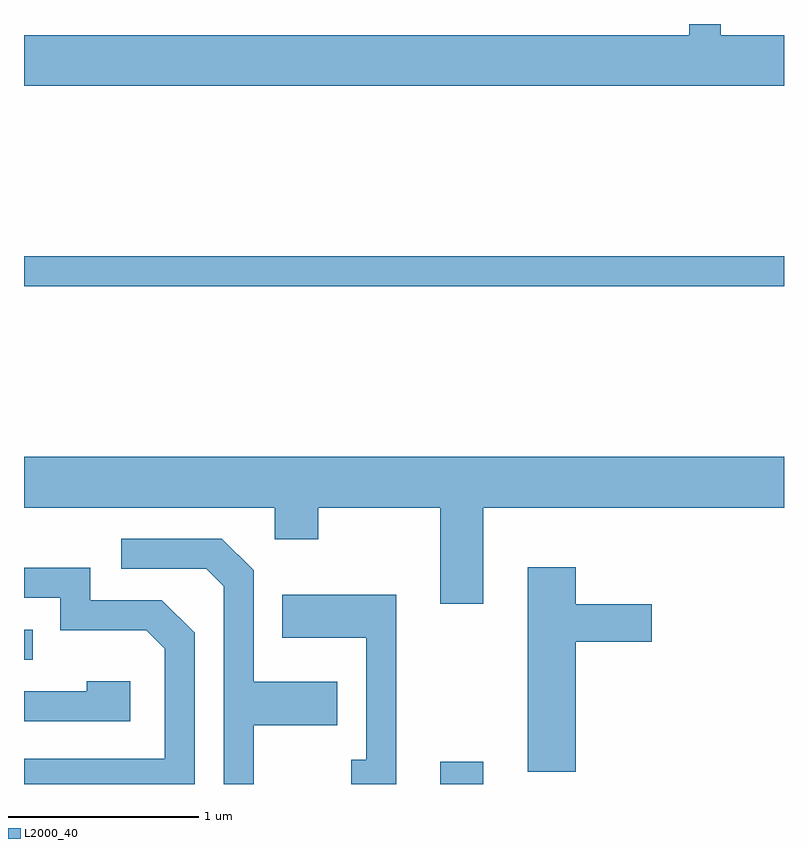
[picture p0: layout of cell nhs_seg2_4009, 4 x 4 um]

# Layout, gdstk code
import gdstk
lib = gdstk.Library(unit=1e-6, precision=1e-09)
def R(c, l, rs):  # rectangles x0, y0, x1, y1
    for r in rs: c.add(gdstk.rectangle(r[:2], r[2:], *l))
def P(c, l, *ps):  # polygons
    for p in ps: c.add(gdstk.Polygon(p, *l))
L2000_40 = (2000, 40)

nhs_seg2_4009 = lib.new_cell('nhs_seg2_4009')
R(nhs_seg2_4009, L2000_40, [(305.801,995.802,306.029,995.919), (303.611,996.456,303.658,996.614), (303.611,998.421,307.611,998.579)])
P(nhs_seg2_4009, L2000_40, [(307.611,999.744),(307.279,999.744),(307.279,999.802),(307.111,999.802),(307.111,999.744),(303.611,999.744),(303.611,999.476),(307.611,999.476)],
  [(306.029,997.256),(307.611,997.256),(307.611,997.524),(303.611,997.524),(303.611,997.256),(304.931,997.256),(304.931,997.091),(305.159,997.091),(305.159,997.256),(305.801,997.256),(305.801,996.751),(306.029,996.751)],
  [(304.819,996.111),(305.259,996.111),(305.259,996.339),(304.819,996.339),(304.819,996.927),(304.652,997.094),(304.123,997.094),(304.123,996.936),(304.569,996.936),(304.661,996.844),(304.661,995.802),(304.819,995.802)],
  [(306.514,996.551),(306.914,996.551),(306.914,996.749),(306.514,996.749),(306.514,996.944),(306.261,996.944),(306.261,995.866),(306.514,995.866)],
  [(304.509,996.597),(304.337,996.769),(303.959,996.769),(303.959,996.939),(303.611,996.939),(303.611,996.781),(303.801,996.781),(303.801,996.611),(304.254,996.611),(304.351,996.514),(304.351,995.934),(303.611,995.934),(303.611,995.802),(304.509,995.802)],
  [(305.569,996.799),(304.971,996.799),(304.971,996.571),(305.411,996.571),(305.411,995.929),(305.333,995.929),(305.333,995.802),(305.569,995.802)],
  [(304.169,996.344),(303.941,996.344),(303.941,996.289),(303.611,996.289),(303.611,996.131),(304.169,996.131)])

lib.write_gds('nhs_seg2_4009.gds')
